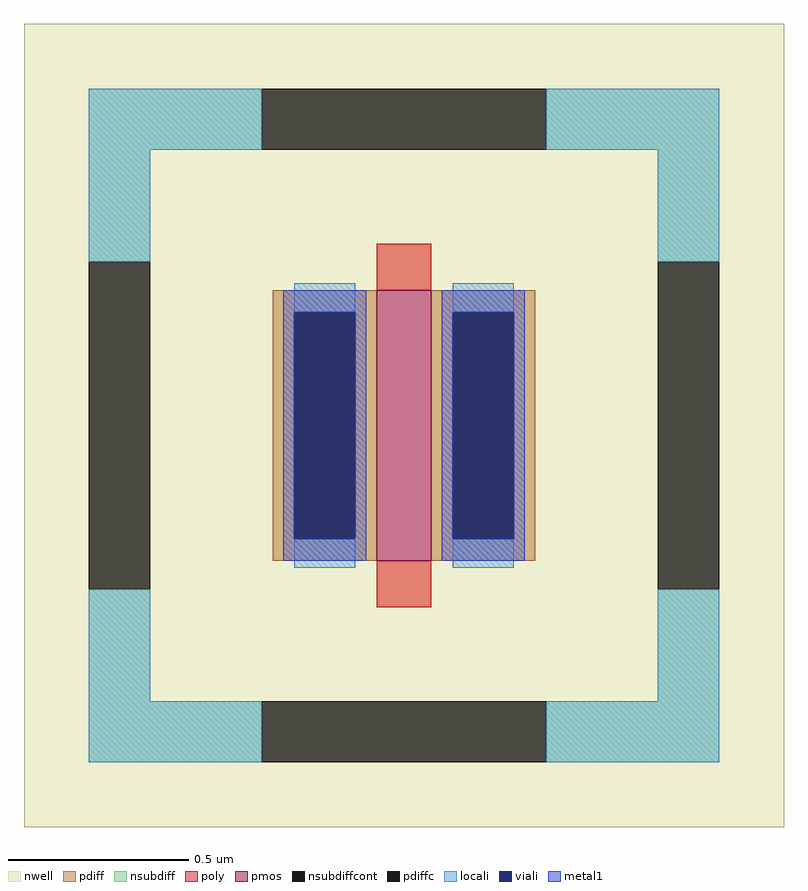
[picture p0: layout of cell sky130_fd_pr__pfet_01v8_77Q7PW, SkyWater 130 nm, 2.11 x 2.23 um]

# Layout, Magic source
magic
tech sky130A
magscale 1 2
<< nwell >>
rect -211 -223 211 223
<< pmos >>
rect -15 -75 15 75
<< pdiff >>
rect -73 63 -15 75
rect -73 -63 -61 63
rect -27 -63 -15 63
rect -73 -75 -15 -63
rect 15 63 73 75
rect 15 -63 27 63
rect 61 -63 73 63
rect 15 -75 73 -63
<< pdiffc >>
rect -61 -63 -27 63
rect 27 -63 61 63
<< nsubdiff >>
rect -175 153 -79 187
rect 79 153 175 187
rect -175 91 -141 153
rect 141 91 175 153
rect -175 -153 -141 -91
rect 141 -153 175 -91
rect -175 -187 -79 -153
rect 79 -187 175 -153
<< nsubdiffcont >>
rect -79 153 79 187
rect -175 -91 -141 91
rect 141 -91 175 91
rect -79 -187 79 -153
<< poly >>
rect -15 75 15 101
rect -15 -101 15 -75
<< locali >>
rect -175 153 -79 187
rect 79 153 175 187
rect -175 91 -141 153
rect 141 91 175 153
rect -61 63 -27 79
rect -61 -79 -27 -63
rect 27 63 61 79
rect 27 -79 61 -63
rect -175 -153 -141 -91
rect 141 -153 175 -91
rect -175 -187 -79 -153
rect 79 -187 175 -153
<< viali >>
rect -61 -63 -27 63
rect 27 -63 61 63
<< metal1 >>
rect -67 63 -21 75
rect -67 -63 -61 63
rect -27 -63 -21 63
rect -67 -75 -21 -63
rect 21 63 67 75
rect 21 -63 27 63
rect 61 -63 67 63
rect 21 -75 67 -63
<< properties >>
string FIXED_BBOX -158 -170 158 170
string gencell sky130_fd_pr__pfet_01v8
string library sky130
string parameters w 0.75 l 0.15 m 1 nf 1 diffcov 100 polycov 100 guard 1 glc 1 grc 1 gtc 1 gbc 1 tbcov 100 rlcov 100 topc 0 botc 0 poverlap 0 doverlap 0 lmin 0.15 wmin 0.42 compatible {sky130_fd_pr__pfet_01v8  sky130_fd_pr__pfet_01v8_lvt sky130_fd_pr__pfet_01v8_hvt  sky130_fd_pr__pfet_g5v0d10v5} full_metal 1 viasrc 100 viadrn 100 viagate 100 viagb 0 viagr 0 viagl 0 viagt 0
<< end >>
